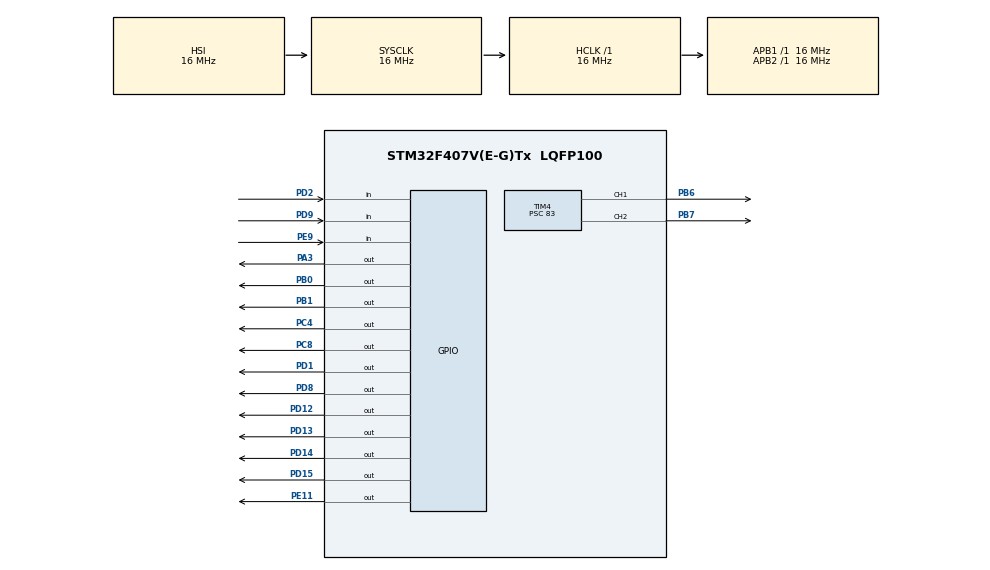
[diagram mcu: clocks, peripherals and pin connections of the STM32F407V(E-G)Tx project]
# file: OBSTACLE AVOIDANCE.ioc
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Mcu.Family=STM32F4
Mcu.Name=STM32F407V(E-G)Tx
Mcu.Package=LQFP100
NVIC.PriorityGroup=NVIC_PRIORITYGROUP_4
PA3.Signal=GPIO_Output
PB0.Signal=GPIO_Output
PB1.Signal=GPIO_Output
PB6.Signal=S_TIM4_CH1
PB7.Signal=S_TIM4_CH2
PC4.Signal=GPIO_Output
PC8.Signal=GPIO_Output
PD1.Signal=GPIO_Output
PD12.Signal=GPIO_Output
PD13.Signal=GPIO_Output
PD14.Signal=GPIO_Output
PD15.Signal=GPIO_Output
PD2.Signal=GPIO_Input
PD8.Signal=GPIO_Output
PD9.Signal=GPIO_Input
PE11.Signal=GPIO_Output
PE9.Signal=GPIO_Input
ProjectManager.HeapSize=0x200
ProjectManager.StackSize=0x400
ProjectManager.TargetToolchain=STM32CubeIDE
RCC.AHBFreq_Value=16000000
RCC.APB1Freq_Value=16000000
RCC.APB2Freq_Value=16000000
RCC.CortexFreq_Value=16000000
RCC.HSE_VALUE=25000000
RCC.HSI_VALUE=16000000
RCC.LSE_VALUE=32768
RCC.SYSCLKFreq_VALUE=16000000
RCC.VCOOutputFreq_Value=192000000
SH.S_TIM4_CH1.0=TIM4_CH1,PWM Generation1 CH1
SH.S_TIM4_CH2.0=TIM4_CH2,PWM Generation2 CH2
TIM4.Channel-PWM\ Generation1\ CH1=TIM_CHANNEL_1
TIM4.Channel-PWM\ Generation2\ CH2=TIM_CHANNEL_2
TIM4.Period=256
TIM4.Prescaler=83
board=custom

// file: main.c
/* USER CODE BEGIN Header */
/**
  ******************************************************************************
  * @file           : main.c
  * @brief          : Main program body
  ******************************************************************************
  * @attention
  *
  * Copyright (c) 2025 STMicroelectronics.
  * All rights reserved.
  *
  * This software is licensed under terms that can be found in the LICENSE file
  * in the root directory of this software component.
  * If no LICENSE file comes with this software, it is provided AS-IS.
  *
  ******************************************************************************
  */
/* USER CODE END Header */
#include "main.h"
#include "stm32f4xx_hal.h"

/* USER CODE BEGIN PD */
//ENA-PB7 ENB-PB-6//
#define TRIG_PORT GPIOE        //F//
#define TRIG_PIN  GPIO_PIN_11
#define ECHO_PORT GPIOE        //F//
#define ECHO_PIN  GPIO_PIN_9
#define BUZZER_PORT GPIOC
#define BUZZER_PIN  GPIO_PIN_8
#define IN1_PORT GPIOB
#define IN1_PIN  GPIO_PIN_1
#define IN2_PORT GPIOA
#define IN2_PIN  GPIO_PIN_3
#define IN3_PORT GPIOB
#define IN3_PIN  GPIO_PIN_0
#define IN4_PORT GPIOC
#define IN4_PIN  GPIO_PIN_4
#define ECHO_TIMEOUT_US 30000
#define L_TRIG_PORT GPIOD
#define L_TRIG_PIN_LEFT GPIO_PIN_1
#define L_ECHO_PORT GPIOD
#define L_ECHO_PIN_LEFT GPIO_PIN_2
#define R_TRIG_PORT GPIOD
#define R_TRIG_PIN_RIGHT GPIO_PIN_8
#define R_ECHO_PORT GPIOD
#define R_ECHO_PIN_RIGHT GPIO_PIN_9
/* USER CODE END PD */

/* USER CODE BEGIN PV */
TIM_HandleTypeDef htim4;
int speedPWM = 200;
/* USER CODE END PV */

void SystemClock_Config(void);
static void MX_GPIO_Init(void);
static void MX_TIM4_Init(void);
/* USER CODE BEGIN PFP */
uint32_t measure_distance(GPIO_TypeDef* trigPort, uint16_t trigPin, GPIO_TypeDef* echoPort, uint16_t echoPin);
void forward(void);
void back(void);
void right(void);
void STOP(void);
void left(void);

/* USER CODE END PFP */

/* USER CODE BEGIN 0 */
void delay_us(uint32_t us)
{
    uint32_t start = DWT->CYCCNT;
    uint32_t ticks = us * (HAL_RCC_GetHCLKFreq() / 1000000);
    while ((DWT->CYCCNT - start) < ticks);
}

/* USER CODE END 0 */

int main(void)
{

  /* MCU Configuration--------------------------------------------------------*/

  /* Reset of all peripherals, Initializes the Flash interface and the Systick. */
  HAL_Init();

  /* USER CODE BEGIN Init */
  // Enable DWT for microsecond delay
  CoreDebug->DEMCR |= CoreDebug_DEMCR_TRCENA_Msk;
  DWT->CYCCNT = 0;
  DWT->CTRL |= DWT_CTRL_CYCCNTENA_Msk;

  /* USER CODE END Init */

  /* Configure the system clock */
  SystemClock_Config();

  /* Initialize all configured peripherals */
  MX_GPIO_Init();
  MX_TIM4_Init();
  HAL_TIM_PWM_Start(&htim4, TIM_CHANNEL_1);
  HAL_TIM_PWM_Start(&htim4, TIM_CHANNEL_2);
  speedPWM = 200;
  __HAL_TIM_SET_COMPARE(&htim4, TIM_CHANNEL_1, speedPWM);
  __HAL_TIM_SET_COMPARE(&htim4, TIM_CHANNEL_2, speedPWM);
  forward();         // Run both motors briefly to initialize
  HAL_Delay(1000);   // Let it move straight
  STOP();            // Stop before loop begins

  /* USER CODE END 2 */

  /* Infinite loop */
  /* USER CODE BEGIN WHILE */
  while (1)
  {

	  uint32_t front = measure_distance(TRIG_PORT, TRIG_PIN, ECHO_PORT, ECHO_PIN);
      uint32_t rearLeft = measure_distance(L_TRIG_PORT, L_TRIG_PIN_LEFT, L_ECHO_PORT, L_ECHO_PIN_LEFT);
      uint32_t rearRight = measure_distance(R_TRIG_PORT, R_TRIG_PIN_RIGHT, R_ECHO_PORT, R_ECHO_PIN_RIGHT);

      if ((rearLeft > 0 && rearLeft < 20) || (rearRight > 0 && rearRight < 20)) {
          HAL_GPIO_WritePin(BUZZER_PORT, BUZZER_PIN, GPIO_PIN_SET);
          HAL_GPIO_WritePin(GPIOD, GPIO_PIN_12 | GPIO_PIN_13 | GPIO_PIN_14 | GPIO_PIN_15, GPIO_PIN_SET);
      }

      else if (front > 0 && front < 30) {
          HAL_GPIO_WritePin(BUZZER_PORT, BUZZER_PIN, GPIO_PIN_SET);
          HAL_GPIO_WritePin(GPIOD, GPIO_PIN_12 | GPIO_PIN_13 | GPIO_PIN_14 | GPIO_PIN_15, GPIO_PIN_SET);
      }

      else {
          HAL_GPIO_WritePin(BUZZER_PORT, BUZZER_PIN, GPIO_PIN_RESET);
          HAL_GPIO_WritePin(GPIOD, GPIO_PIN_12 | GPIO_PIN_13 | GPIO_PIN_14 | GPIO_PIN_15, GPIO_PIN_RESET);
      }

      if (front > 0 && front < 70)
          speedPWM = 150;
      else
          speedPWM = 200;

      if (front > 20) {
          forward();
      } else {
          STOP();
          HAL_Delay(500);

          rearLeft = measure_distance(L_TRIG_PORT, L_TRIG_PIN_LEFT, L_ECHO_PORT, L_ECHO_PIN_LEFT);
          rearRight = measure_distance(R_TRIG_PORT, R_TRIG_PIN_RIGHT, R_ECHO_PORT, R_ECHO_PIN_RIGHT);

          if (rearRight > 30) {
              right();
              HAL_Delay(800);
              STOP();
          }
          else if (rearLeft > 30) {
              left();
              HAL_Delay(800);
              STOP();
          }
          else {
              back();
              HAL_Delay(600);
              STOP();
          }
      }

      HAL_Delay(100);
  }

  /* USER CODE END 3 */
}

void SystemClock_Config(void)
{
  RCC_OscInitTypeDef RCC_OscInitStruct = {0};
  RCC_ClkInitTypeDef RCC_ClkInitStruct = {0};

  /** Configure the main internal regulator output voltage
  */
  __HAL_RCC_PWR_CLK_ENABLE();
  __HAL_PWR_VOLTAGESCALING_CONFIG(PWR_REGULATOR_VOLTAGE_SCALE1);

  /** Initializes the RCC Oscillators according to the specified parameters
  * in the RCC_OscInitTypeDef structure.
  */
  RCC_OscInitStruct.OscillatorType = RCC_OSCILLATORTYPE_HSI;
  RCC_OscInitStruct.HSIState = RCC_HSI_ON;
  RCC_OscInitStruct.HSICalibrationValue = RCC_HSICALIBRATION_DEFAULT;
  RCC_OscInitStruct.PLL.PLLState = RCC_PLL_NONE;
  if (HAL_RCC_OscConfig(&RCC_OscInitStruct) != HAL_OK)
  {
    Error_Handler();
  }

  /** Initializes the CPU, AHB and APB buses clocks
  */
  RCC_ClkInitStruct.ClockType = RCC_CLOCKTYPE_HCLK|RCC_CLOCKTYPE_SYSCLK
                              |RCC_CLOCKTYPE_PCLK1|RCC_CLOCKTYPE_PCLK2;
  RCC_ClkInitStruct.SYSCLKSource = RCC_SYSCLKSOURCE_HSI;
  RCC_ClkInitStruct.AHBCLKDivider = RCC_SYSCLK_DIV1;
  RCC_ClkInitStruct.APB1CLKDivider = RCC_HCLK_DIV1;
  RCC_ClkInitStruct.APB2CLKDivider = RCC_HCLK_DIV1;

  if (HAL_RCC_ClockConfig(&RCC_ClkInitStruct, FLASH_LATENCY_0) != HAL_OK)
  {
    Error_Handler();
  }
}

static void MX_TIM4_Init(void)
{

  TIM_MasterConfigTypeDef sMasterConfig = {0};
  TIM_OC_InitTypeDef sConfigOC = {0};

  htim4.Instance = TIM4;
  htim4.Init.Prescaler = 83;
  htim4.Init.CounterMode = TIM_COUNTERMODE_UP;
  htim4.Init.Period = 255;
  htim4.Init.ClockDivision = TIM_CLOCKDIVISION_DIV1;
  htim4.Init.AutoReloadPreload = TIM_AUTORELOAD_PRELOAD_DISABLE;
  if (HAL_TIM_PWM_Init(&htim4) != HAL_OK)
  {
    Error_Handler();
  }
  sMasterConfig.MasterOutputTrigger = TIM_TRGO_RESET;
  sMasterConfig.MasterSlaveMode = TIM_MASTERSLAVEMODE_DISABLE;
  if (HAL_TIMEx_MasterConfigSynchronization(&htim4, &sMasterConfig) != HAL_OK)
  {
    Error_Handler();
  }
  sConfigOC.OCMode = TIM_OCMODE_PWM1;
  sConfigOC.Pulse = 0;
  sConfigOC.OCPolarity = TIM_OCPOLARITY_HIGH;
  sConfigOC.OCFastMode = TIM_OCFAST_DISABLE;
  if (HAL_TIM_PWM_ConfigChannel(&htim4, &sConfigOC, TIM_CHANNEL_1) != HAL_OK)
  {
    Error_Handler();
  }
  if (HAL_TIM_PWM_ConfigChannel(&htim4, &sConfigOC, TIM_CHANNEL_2) != HAL_OK)
  {
    Error_Handler();
  }
  HAL_TIM_MspPostInit(&htim4);

}

static void MX_GPIO_Init(void)
{
  GPIO_InitTypeDef GPIO_InitStruct = {0};

  /* GPIO Ports Clock Enable */
  __HAL_RCC_GPIOA_CLK_ENABLE();
  __HAL_RCC_GPIOC_CLK_ENABLE();
  __HAL_RCC_GPIOB_CLK_ENABLE();
  __HAL_RCC_GPIOE_CLK_ENABLE();
  __HAL_RCC_GPIOD_CLK_ENABLE();

  /*Configure GPIO pin Output Level */
  HAL_GPIO_WritePin(GPIOA, GPIO_PIN_3, GPIO_PIN_RESET);

  /*Configure GPIO pin Output Level */
  HAL_GPIO_WritePin(GPIOC, GPIO_PIN_4|GPIO_PIN_8, GPIO_PIN_RESET);

  /*Configure GPIO pin Output Level */
  HAL_GPIO_WritePin(GPIOB, GPIO_PIN_0|GPIO_PIN_1, GPIO_PIN_RESET);

  /*Configure GPIO pin Output Level */
  HAL_GPIO_WritePin(GPIOE, GPIO_PIN_11, GPIO_PIN_RESET);

  /*Configure GPIO pin Output Level */
  HAL_GPIO_WritePin(GPIOD, GPIO_PIN_8|GPIO_PIN_12|GPIO_PIN_13|GPIO_PIN_14
                          |GPIO_PIN_15|GPIO_PIN_1, GPIO_PIN_RESET);

  /*Configure GPIO pin : PA3 */
  GPIO_InitStruct.Pin = GPIO_PIN_3;
  GPIO_InitStruct.Mode = GPIO_MODE_OUTPUT_PP;
  GPIO_InitStruct.Pull = GPIO_NOPULL;
  GPIO_InitStruct.Speed = GPIO_SPEED_FREQ_LOW;
  HAL_GPIO_Init(GPIOA, &GPIO_InitStruct);

  /*Configure GPIO pins : PC4 PC8 */
  GPIO_InitStruct.Pin = GPIO_PIN_4|GPIO_PIN_8;
  GPIO_InitStruct.Mode = GPIO_MODE_OUTPUT_PP;
  GPIO_InitStruct.Pull = GPIO_NOPULL;
  GPIO_InitStruct.Speed = GPIO_SPEED_FREQ_LOW;
  HAL_GPIO_Init(GPIOC, &GPIO_InitStruct);

  /*Configure GPIO pins : PB0 PB1 */
  GPIO_InitStruct.Pin = GPIO_PIN_0|GPIO_PIN_1;
  GPIO_InitStruct.Mode = GPIO_MODE_OUTPUT_PP;
  GPIO_InitStruct.Pull = GPIO_NOPULL;
  GPIO_InitStruct.Speed = GPIO_SPEED_FREQ_LOW;
  HAL_GPIO_Init(GPIOB, &GPIO_InitStruct);

  /*Configure GPIO pin : PE9 */
  GPIO_InitStruct.Pin = GPIO_PIN_9;
  GPIO_InitStruct.Mode = GPIO_MODE_INPUT;
  GPIO_InitStruct.Pull = GPIO_NOPULL;
  HAL_GPIO_Init(GPIOE, &GPIO_InitStruct);

  /*Configure GPIO pin : PE11 */
  GPIO_InitStruct.Pin = GPIO_PIN_11;
  GPIO_InitStruct.Mode = GPIO_MODE_OUTPUT_PP;
  GPIO_InitStruct.Pull = GPIO_NOPULL;
  GPIO_InitStruct.Speed = GPIO_SPEED_FREQ_LOW;
  HAL_GPIO_Init(GPIOE, &GPIO_InitStruct);

  /*Configure GPIO pins : PD8 PD12 PD13 PD14
                           PD15 PD1 */
  GPIO_InitStruct.Pin = GPIO_PIN_8|GPIO_PIN_12|GPIO_PIN_13|GPIO_PIN_14
                          |GPIO_PIN_15|GPIO_PIN_1;
  GPIO_InitStruct.Mode = GPIO_MODE_OUTPUT_PP;
  GPIO_InitStruct.Pull = GPIO_NOPULL;
  GPIO_InitStruct.Speed = GPIO_SPEED_FREQ_LOW;
  HAL_GPIO_Init(GPIOD, &GPIO_InitStruct);

  /*Configure GPIO pins : PD9 PD2 */
  GPIO_InitStruct.Pin = GPIO_PIN_9|GPIO_PIN_2;
  GPIO_InitStruct.Mode = GPIO_MODE_INPUT;
  GPIO_InitStruct.Pull = GPIO_NOPULL;
  HAL_GPIO_Init(GPIOD, &GPIO_InitStruct);

}

/* USER CODE BEGIN 4 */

void forward(void) {
  __HAL_TIM_SET_COMPARE(&htim4, TIM_CHANNEL_1, speedPWM);
  __HAL_TIM_SET_COMPARE(&htim4, TIM_CHANNEL_2, speedPWM);

  HAL_GPIO_WritePin(IN1_PORT, IN1_PIN, GPIO_PIN_SET);
  HAL_GPIO_WritePin(IN2_PORT, IN2_PIN, GPIO_PIN_RESET);
  HAL_GPIO_WritePin(IN3_PORT, IN3_PIN, GPIO_PIN_SET);
  HAL_GPIO_WritePin(IN4_PORT, IN4_PIN, GPIO_PIN_RESET);
}

void back(void) {
  __HAL_TIM_SET_COMPARE(&htim4, TIM_CHANNEL_1, speedPWM);
  __HAL_TIM_SET_COMPARE(&htim4, TIM_CHANNEL_2, speedPWM);

  HAL_GPIO_WritePin(IN1_PORT, IN1_PIN, GPIO_PIN_RESET);
  HAL_GPIO_WritePin(IN2_PORT, IN2_PIN, GPIO_PIN_SET);
  HAL_GPIO_WritePin(IN3_PORT, IN3_PIN, GPIO_PIN_RESET);
  HAL_GPIO_WritePin(IN4_PORT, IN4_PIN, GPIO_PIN_SET);
}

void left(void) {
  __HAL_TIM_SET_COMPARE(&htim4, TIM_CHANNEL_1, speedPWM);
  __HAL_TIM_SET_COMPARE(&htim4, TIM_CHANNEL_2, speedPWM);

  HAL_GPIO_WritePin(IN1_PORT, IN1_PIN, GPIO_PIN_SET);
  HAL_GPIO_WritePin(IN2_PORT, IN2_PIN, GPIO_PIN_RESET);
  HAL_GPIO_WritePin(IN3_PORT, IN3_PIN, GPIO_PIN_RESET);
  HAL_GPIO_WritePin(IN4_PORT, IN4_PIN, GPIO_PIN_SET);
}
void right(void) {
  __HAL_TIM_SET_COMPARE(&htim4, TIM_CHANNEL_1, speedPWM);
  __HAL_TIM_SET_COMPARE(&htim4, TIM_CHANNEL_2, speedPWM);

  HAL_GPIO_WritePin(IN1_PORT, IN1_PIN, GPIO_PIN_RESET);
  HAL_GPIO_WritePin(IN2_PORT, IN2_PIN, GPIO_PIN_SET);
  HAL_GPIO_WritePin(IN3_PORT, IN3_PIN, GPIO_PIN_SET);
  HAL_GPIO_WritePin(IN4_PORT, IN4_PIN, GPIO_PIN_RESET);
}

void STOP(void) {
  __HAL_TIM_SET_COMPARE(&htim4, TIM_CHANNEL_1, 0);
  __HAL_TIM_SET_COMPARE(&htim4, TIM_CHANNEL_2, 0);

  HAL_GPIO_WritePin(IN1_PORT, IN1_PIN, GPIO_PIN_RESET);
  HAL_GPIO_WritePin(IN2_PORT, IN2_PIN, GPIO_PIN_RESET);
  HAL_GPIO_WritePin(IN3_PORT, IN3_PIN, GPIO_PIN_RESET);
  HAL_GPIO_WritePin(IN4_PORT, IN4_PIN, GPIO_PIN_RESET);
}
uint32_t measure_distance(GPIO_TypeDef* trigPort, uint16_t trigPin, GPIO_TypeDef* echoPort, uint16_t echoPin)
{
    const uint32_t timeout_cycles = (HAL_RCC_GetHCLKFreq() / 1000000) * ECHO_TIMEOUT_US;

    // Trigger ultrasonic pulse
    HAL_GPIO_WritePin(trigPort, trigPin, GPIO_PIN_RESET);
    delay_us(2);
    HAL_GPIO_WritePin(trigPort, trigPin, GPIO_PIN_SET);
    delay_us(10);
    HAL_GPIO_WritePin(trigPort, trigPin, GPIO_PIN_RESET);

    // Wait for echo to go HIGH
    uint32_t startTick = DWT->CYCCNT;
    while (HAL_GPIO_ReadPin(echoPort, echoPin) == GPIO_PIN_RESET) {
        if ((DWT->CYCCNT - startTick) > timeout_cycles) return 0;
    }

    // Measure duration of HIGH pulse
    uint32_t startTime = DWT->CYCCNT;
    while (HAL_GPIO_ReadPin(echoPort, echoPin) == GPIO_PIN_SET) {
        if ((DWT->CYCCNT - startTime) > timeout_cycles) return 0;
    }

    uint32_t endTime = DWT->CYCCNT;
    uint32_t us = (endTime - startTime) / (HAL_RCC_GetHCLKFreq() / 1000000);
    return (uint32_t)(us * 0.0343f / 2.0f);  // Distance in cm
}

/* USER CODE END 4 */

void Error_Handler(void)
{
  __disable_irq();
  while (1)
  {
  }
}
